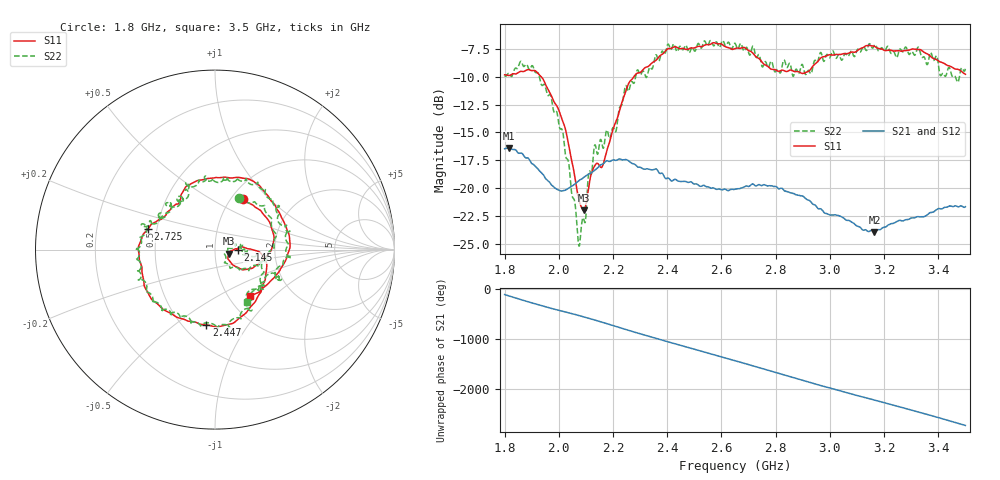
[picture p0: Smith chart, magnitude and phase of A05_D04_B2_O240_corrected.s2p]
! Created with skrf 1.9.0 (http://scikit-rf.org).
# Hz S RI R 50.0
!freq ReS11 ImS11 ReS21 ImS21 ReS12 ImS12 ReS22 ImS22
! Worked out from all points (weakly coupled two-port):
!   1601 points, 1.8 GHz to 3.5 GHz, reference 50 ohm
!   highest |S21| = -16.39 dB at 1.817 GHz (marker M1); lowest = -23.9 dB at 3.164 GHz (marker M2)
!   lowest |S11| = -22.0 dB at 2.092 GHz (marker M3), VSWR 1.17, Z = 58.2 - j2.58 ohm
!   |S11| at or under -10 dB: 1.935 GHz to 2.277 GHz (342.5 MHz wide, 16.3 % of centre)
!   |S22| runs from -25.2 to -6.7 dB; largest |S21 - S12| = 0.0024
!   S11 on the Smith chart (normalised r, x): 1.8 GHz: 1.13, +0.71; 2.145 GHz: 1.29, -0.00; 2.447 GHz: 0.64, -0.66; 2.725 GHz: 0.45, +0.12; 3.5 GHz: 1.26, -0.72
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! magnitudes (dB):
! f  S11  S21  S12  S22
! 1.8 GHz  -9.8  -16.5  -16.5  -9.9
! 1.817 GHz  -9.9  -16.4  -16.4  -9.7
! 1.903 GHz  -9.5  -17.8  -17.8  -9.0
! 1.968 GHz  -11.5  -19.5  -19.6  -11.6
! 2.015 GHz  -14.0  -20.2  -20.3  -15.0
! 2.072 GHz  -20.8  -19.4  -19.4  -24.9
! 2.084 GHz  -21.7  -19.2  -19.1  -23.3
! 2.092 GHz  -22.0  -19.0  -19.1  -22.8
! 2.113 GHz  -19.4  -18.7  -18.7  -18.4
! 2.145 GHz  -17.8  -18.1  -18.1  -16.8
! 2.209 GHz  -14.1  -17.5  -17.5  -14.9
! 2.26 GHz  -10.5  -17.6  -17.6  -11.1
! 2.367 GHz  -8.3  -18.5  -18.5  -8.6
! 2.447 GHz  -7.5  -19.4  -19.4  -7.3
! 2.65 GHz  -7.5  -20.1  -20.1  -7.0
! 2.725 GHz  -8.2  -19.8  -19.8  -8.1
! 2.934 GHz  -9.2  -21.4  -21.3  -9.6
! 3.164 GHz  -7.3  -23.9  -23.9  -7.2
! 3.217 GHz  -7.6  -23.3  -23.2  -7.4
! 3.327 GHz  -7.6  -22.6  -22.5  -7.4
! 3.468 GHz  -9.3  -21.6  -21.6  -10.4
! 3.5 GHz  -9.8  -21.7  -21.6  -9.3
